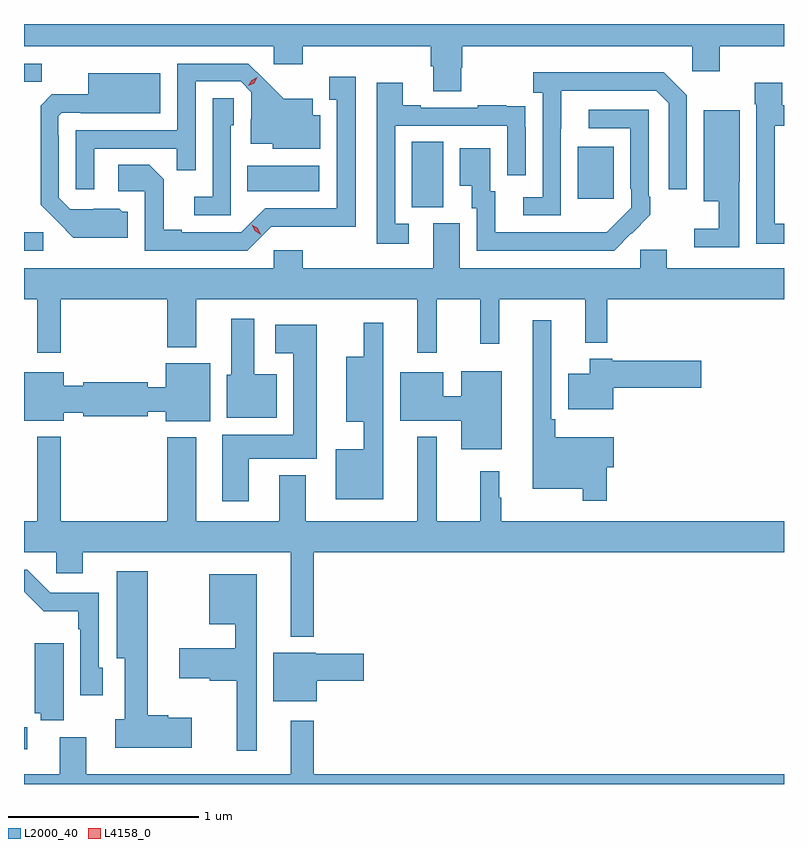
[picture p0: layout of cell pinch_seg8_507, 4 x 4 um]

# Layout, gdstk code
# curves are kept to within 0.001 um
import gdstk
lib = gdstk.Library(unit=1e-6, precision=1e-09)
def R(c, l, rs):  # rectangles x0, y0, x1, y1
    for r in rs: c.add(gdstk.rectangle(r[:2], r[2:], *l))
def P(c, l, *ps):  # polygons
    for p in ps: c.add(gdstk.Polygon(p, *l))
L2000_40 = (2000, 40)
L4158_0 = (4158, 0)

pinch_seg8_507 = lib.new_cell('pinch_seg8_507')
R(pinch_seg8_507, L2000_40, [(190.806,1112.801,190.822,1112.916), (190.806,1115.424,190.906,1115.52), (192.848,1115.653,193.012,1115.996), (193.721,1115.697,193.909,1115.971), (191.98,1115.738,192.361,1115.872), (190.806,1116.313,190.899,1116.408)])
P(pinch_seg8_507, L2000_40, [(193.107,1116.387),(193.112,1116.387),(193.112,1116.5),(194.322,1116.5),(194.322,1116.369),(194.469,1116.369),(194.469,1116.5),(194.806,1116.5),(194.806,1116.617),(190.806,1116.617),(190.806,1116.5),(192.12,1116.5),(192.12,1116.405),(192.272,1116.405),(192.272,1116.5),(192.947,1116.5),(192.947,1116.394),(192.959,1116.394),(192.959,1116.262),(193.107,1116.262)],
  [(191.175,1115.961),(191.611,1115.961),(191.611,1115.848),(191.709,1115.848),(191.709,1116.315),(191.946,1116.315),(192.003,1116.258),(192.003,1116.116),(191.999,1116.116),(191.999,1115.987),(192.114,1115.987),(192.114,1115.96),(192.364,1115.96),(192.364,1116.136),(192.325,1116.136),(192.325,1116.223),(192.173,1116.223),(191.986,1116.408),(191.613,1116.408),(191.613,1116.057),(191.079,1116.057),(191.079,1115.748),(191.175,1115.748)],
  [(193.632,1116.067),(193.633,1116.267),(194.133,1116.267),(194.199,1116.201),(194.199,1115.748),(194.295,1115.748),(194.295,1116.243),(194.174,1116.364),(193.485,1116.364),(193.485,1116.254),(193.536,1116.254),(193.536,1115.706),(193.434,1115.706),(193.434,1115.61),(193.632,1115.61)],
  [(191.353,1115.628),(191.322,1115.628),(191.306,1115.644),(191.049,1115.643),(190.989,1115.703),(190.989,1116.032),(190.986,1116.032),(190.986,1116.132),(191.004,1116.15),(191.104,1116.15),(191.104,1116.146),(191.524,1116.146),(191.524,1116.358),(191.144,1116.358),(191.144,1116.247),(190.952,1116.247),(190.893,1116.188),(190.893,1115.666),(191.065,1115.492),(191.353,1115.492)],
  [(192.108,1115.55),(192.553,1115.549),(192.553,1116.34),(192.413,1116.34),(192.413,1116.219),(192.452,1116.219),(192.452,1115.646),(192.075,1115.646),(191.949,1115.52),(191.635,1115.52),(191.635,1115.533),(191.541,1115.533),(191.541,1115.8),(191.465,1115.876),(191.301,1115.876),(191.301,1115.736),(191.442,1115.736),(191.442,1115.424),(191.982,1115.424)],
  [(192.832,1115.565),(192.759,1115.565),(192.759,1116.081),(193.35,1116.081),(193.35,1115.82),(193.446,1115.82),(193.446,1116.074),(193.445,1116.074),(193.445,1116.183),(193.343,1116.183),(193.343,1116.19),(193.195,1116.19),(193.195,1116.177),(192.895,1116.177),(192.895,1116.19),(192.799,1116.19),(192.799,1116.307),(192.663,1116.307),(192.663,1115.46),(192.832,1115.46)],
  [(194.806,1115.565),(194.757,1115.565),(194.757,1116.081),(194.806,1116.081),(194.806,1116.19),(194.797,1116.19),(194.797,1116.307),(194.653,1116.307),(194.653,1116.194),(194.661,1116.194),(194.661,1115.46),(194.806,1115.46)],
  [(191.895,1116.084),(191.91,1116.084),(191.91,1116.227),(191.799,1116.227),(191.799,1115.707),(191.703,1115.707),(191.703,1115.61),(191.895,1115.61)],
  [(194.003,1115.515),(194.004,1115.514),(194.102,1115.612),(194.102,1115.707),(194.094,1115.707),(194.094,1116.165),(193.779,1116.165),(193.779,1116.069),(193.998,1116.069),(193.998,1115.749),(194.001,1115.749),(194.001,1115.649),(193.873,1115.521),(193.285,1115.52),(193.285,1115.736),(193.261,1115.736),(193.261,1115.962),(193.1,1115.962),(193.1,1115.765),(193.163,1115.765),(193.163,1115.646),(193.188,1115.646),(193.188,1115.424),(193.912,1115.424)],
  [(194.571,1115.788),(194.572,1115.788),(194.572,1116.163),(194.384,1116.163),(194.384,1115.684),(194.463,1115.684),(194.463,1115.539),(194.334,1115.539),(194.334,1115.442),(194.571,1115.442)],
  [(190.999,1115.168),(191.561,1115.168),(191.561,1114.916),(191.713,1114.916),(191.713,1115.168),(192.875,1115.168),(192.875,1114.887),(192.979,1114.887),(192.979,1115.168),(193.207,1115.168),(193.207,1114.935),(193.307,1114.935),(193.307,1115.168),(193.76,1115.168),(193.76,1114.94),(193.877,1114.94),(193.877,1115.168),(194.806,1115.168),(194.806,1115.332),(194.188,1115.332),(194.188,1115.43),(194.049,1115.43),(194.049,1115.332),(193.099,1115.332),(193.099,1115.568),(192.959,1115.568),(192.959,1115.332),(192.272,1115.332),(192.272,1115.425),(192.12,1115.425),(192.12,1115.332),(190.806,1115.332),(190.806,1115.168),(190.877,1115.168),(190.877,1114.887),(190.999,1114.887)],
  [(192.136,1114.774),(192.019,1114.774),(192.019,1115.065),(191.897,1115.065),(191.897,1114.77),(191.873,1114.77),(191.873,1114.544),(192.136,1114.544)],
  [(193.874,1114.283),(193.909,1114.283),(193.909,1114.441),(193.601,1114.441),(193.601,1114.537),(193.581,1114.537),(193.581,1115.059),(193.484,1115.059),(193.484,1114.172),(193.746,1114.172),(193.746,1114.107),(193.874,1114.107)],
  [(192.697,1115.044),(192.593,1115.044),(192.593,1114.867),(192.503,1114.867),(192.503,1114.523),(192.593,1114.523),(192.593,1114.378),(192.446,1114.378),(192.446,1114.115),(192.697,1114.115)],
  [(191.989,1114.328),(192.346,1114.328),(192.346,1115.035),(192.129,1115.035),(192.129,1114.883),(192.224,1114.883),(192.224,1114.456),(191.849,1114.456),(191.849,1114.104),(191.989,1114.104)],
  [(193.906,1114.703),(194.371,1114.703),(194.371,1114.845),(193.902,1114.845),(193.902,1114.855),(193.784,1114.855),(193.784,1114.777),(193.67,1114.777),(193.67,1114.589),(193.906,1114.589)],
  [(191.785,1114.831),(191.552,1114.831),(191.552,1114.705),(191.458,1114.705),(191.458,1114.731),(191.118,1114.731),(191.118,1114.713),(191.014,1114.713),(191.014,1114.783),(190.806,1114.783),(190.806,1114.529),(191.014,1114.529),(191.014,1114.571),(191.118,1114.571),(191.118,1114.553),(191.458,1114.553),(191.458,1114.576),(191.552,1114.576),(191.552,1114.526),(191.785,1114.526)],
  [(193.321,1114.789),(193.106,1114.789),(193.106,1114.658),(193.012,1114.658),(193.012,1114.783),(192.785,1114.783),(192.785,1114.529),(193.106,1114.529),(193.106,1114.379),(193.321,1114.379)],
  [(192.331,1113.836),(194.806,1113.836),(194.806,1114),(193.318,1114),(193.318,1114.124),(193.306,1114.124),(193.306,1114.264),(193.207,1114.264),(193.207,1114),(192.979,1114),(192.979,1114.444),(192.875,1114.444),(192.875,1114),(192.289,1114),(192.289,1114.243),(192.149,1114.243),(192.149,1114),(191.713,1114),(191.713,1114.441),(191.561,1114.441),(191.561,1114),(190.999,1114),(190.999,1114.444),(190.877,1114.444),(190.877,1114),(190.806,1114),(190.806,1113.836),(190.977,1113.836),(190.977,1113.726),(191.116,1113.726),(191.116,1113.836),(192.209,1113.836),(192.209,1113.392),(192.331,1113.392)],
  [(191.22,1113.228),(191.199,1113.228),(191.199,1113.624),(190.944,1113.624),(190.824,1113.744),(190.806,1113.744),(190.806,1113.63),(190.909,1113.527),(191.091,1113.527),(191.091,1113.431),(191.103,1113.431),(191.103,1113.084),(191.22,1113.084)],
  [(191.689,1112.965),(191.565,1112.965),(191.565,1112.978),(191.458,1112.978),(191.458,1113.736),(191.294,1113.736),(191.294,1113.278),(191.336,1113.278),(191.336,1112.958),(191.286,1112.958),(191.286,1112.807),(191.689,1112.807)],
  [(192.031,1113.721),(191.78,1113.721),(191.78,1113.458),(191.917,1113.458),(191.917,1113.331),(191.622,1113.331),(191.622,1113.173),(191.783,1113.173),(191.783,1113.161),(191.927,1113.161),(191.927,1112.793),(192.031,1112.793)],
  [(191.014,1113.358),(190.862,1113.358),(190.862,1112.99),(190.894,1112.99),(190.894,1112.953),(191.014,1112.953)],
  [(192.346,1113.16),(192.595,1113.16),(192.595,1113.302),(192.342,1113.302),(192.342,1113.307),(192.119,1113.307),(192.119,1113.053),(192.346,1113.053)],
  [(194.806,1112.668),(192.331,1112.668),(192.331,1112.95),(192.209,1112.95),(192.209,1112.668),(191.134,1112.668),(191.134,1112.863),(190.994,1112.863),(190.994,1112.668),(190.806,1112.668),(190.806,1112.617),(194.806,1112.617)])
P(pinch_seg8_507, L4158_0, [(192.052,1115.509),(192.021,1115.528),(192.004,1115.561),(192.004,1115.561),(192.005,1115.561),(192.036,1115.542),(192.053,1115.509),(192.053,1115.509)],
  [(191.987,1116.291),(191.987,1116.291),(192.004,1116.32),(192.034,1116.336),(192.034,1116.336),(192.034,1116.336),(192.018,1116.306),(191.987,1116.291)])

lib.write_gds('pinch_seg8_507.gds')
